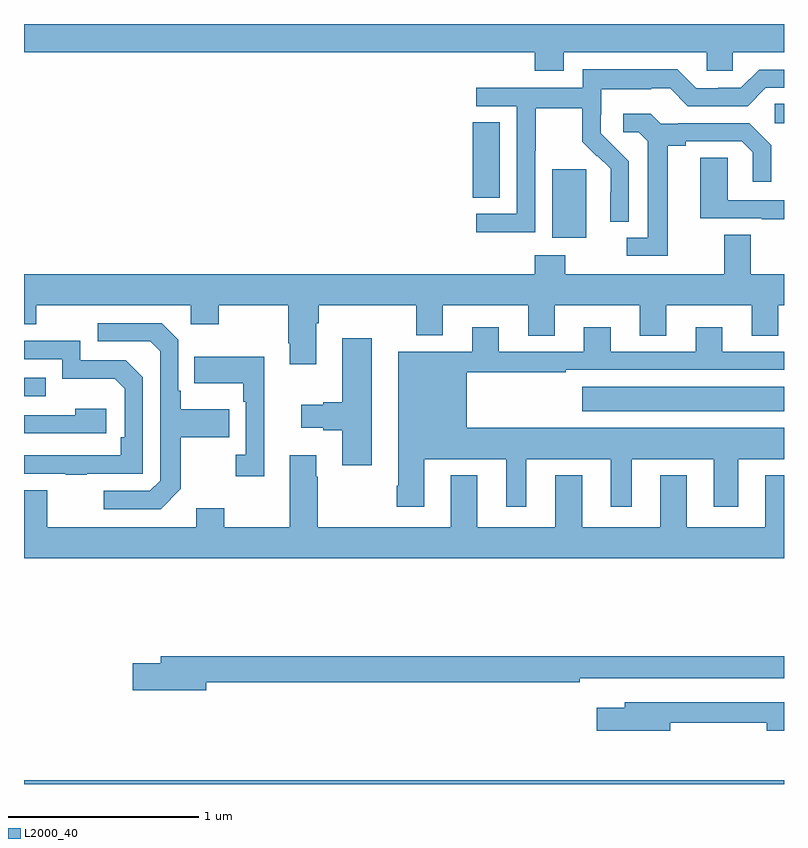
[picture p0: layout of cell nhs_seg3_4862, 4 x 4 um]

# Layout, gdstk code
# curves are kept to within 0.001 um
import gdstk
lib = gdstk.Library(unit=1e-6, precision=1e-09)
def R(c, l, rs):  # rectangles x0, y0, x1, y1
    for r in rs: c.add(gdstk.rectangle(r[:2], r[2:], *l))
def P(c, l, *ps):  # polygons
    for p in ps: c.add(gdstk.Polygon(p, *l))
L2000_40 = (2000, 40)

nhs_seg3_4862 = lib.new_cell('nhs_seg3_4862')
R(nhs_seg3_4862, L2000_40, [(373,694.4,377,694.42), (375.939,696.362,377,696.49), (373,696.441,373.115,696.537), (375.779,697.274,375.958,697.635), (375.362,697.486,375.505,697.883), (376.95,697.878,377,697.979)])
P(nhs_seg3_4862, L2000_40, [(375.841,698.252),(376.593,698.252),(376.593,698.154),(376.731,698.154),(376.731,698.252),(377,698.252),(377,698.4),(373,698.4),(373,698.252),(375.689,698.252),(375.689,698.153),(375.841,698.153)],
  [(375.69,697.732),(375.693,697.732),(375.693,697.956),(375.937,697.956),(375.937,697.781),(376.014,697.704),(376.017,697.707),(376.088,697.637),(376.088,697.514),(376.086,697.514),(376.086,697.36),(376.182,697.36),(376.182,697.678),(376.036,697.826),(376.036,697.923),(376.038,697.923),(376.038,698.057),(376.301,698.057),(376.301,698.061),(376.401,698.061),(376.494,697.968),(376.809,697.968),(376.905,698.064),(377,698.064),(377,698.16),(376.869,698.16),(376.773,698.064),(376.655,698.064),(376.655,698.061),(376.539,698.061),(376.439,698.161),(375.942,698.161),(375.942,698.064),(375.381,698.064),(375.381,697.968),(375.594,697.968),(375.594,697.401),(375.381,697.401),(375.381,697.303),(375.69,697.303)],
  [(376.387,697.76),(376.483,697.76),(376.483,697.782),(376.778,697.782),(376.835,697.725),(376.835,697.569),(376.932,697.569),(376.932,697.762),(376.816,697.878),(376.444,697.878),(376.444,697.875),(376.35,697.875),(376.298,697.927),(376.155,697.927),(376.155,697.83),(376.236,697.83),(376.283,697.783),(376.283,697.275),(376.173,697.275),(376.173,697.179),(376.387,697.179)],
  [(377,697.473),(376.704,697.473),(376.704,697.697),(376.559,697.697),(376.559,697.377),(376.883,697.377),(376.883,697.373),(377,697.373)],
  [(374.539,696.824),(374.552,696.824),(374.552,696.92),(375.065,696.92),(375.065,696.761),(375.205,696.761),(375.205,696.92),(375.653,696.92),(375.653,696.76),(375.793,696.76),(375.793,696.92),(376.241,696.92),(376.241,696.76),(376.381,696.76),(376.381,696.92),(376.829,696.92),(376.829,696.76),(376.969,696.76),(376.969,696.92),(377,696.92),(377,697.084),(376.825,697.084),(376.825,697.292),(376.685,697.292),(376.685,697.084),(375.849,697.084),(375.849,697.183),(375.689,697.183),(375.689,697.084),(373,697.084),(373,696.821),(373.065,696.821),(373.065,696.92),(373.878,696.92),(373.878,696.821),(374.025,696.821),(374.025,696.92),(374.392,696.92),(374.392,696.721),(374.399,696.721),(374.399,696.609),(374.539,696.609)],
  [(373.825,695.953),(373.825,696.226),(374.081,696.226),(374.081,696.373),(373.825,696.373),(373.825,696.469),(373.812,696.469),(373.812,696.738),(373.725,696.825),(373.389,696.825),(373.389,696.729),(373.665,696.729),(373.716,696.678),(373.716,695.997),(373.662,695.943),(373.419,695.943),(373.419,695.847),(373.719,695.847)],
  [(375.106,696.11),(375.539,696.11),(375.539,695.859),(375.643,695.859),(375.643,696.11),(376.088,696.11),(376.088,695.859),(376.198,695.859),(376.198,696.11),(376.631,696.11),(376.631,695.859),(376.759,695.859),(376.759,696.11),(377,696.11),(377,696.274),(375.331,696.274),(375.331,696.567),(375.851,696.567),(375.851,696.579),(377,696.579),(377,696.675),(376.675,696.675),(376.675,696.805),(376.535,696.805),(376.535,696.675),(376.087,696.675),(376.087,696.805),(375.947,696.805),(375.947,696.675),(375.499,696.675),(375.499,696.805),(375.359,696.805),(375.359,696.676),(374.969,696.676),(374.969,695.971),(374.962,695.971),(374.962,695.859),(375.106,695.859)],
  [(374.83,696.745),(374.675,696.745),(374.675,696.41),(374.576,696.41),(374.576,696.397),(374.46,696.397),(374.46,696.275),(374.576,696.275),(374.576,696.263),(374.675,696.263),(374.675,696.078),(374.83,696.078)],
  [(373.331,696.033),(373.626,696.033),(373.626,696.54),(373.536,696.63),(373.296,696.63),(373.296,696.732),(373,696.732),(373,696.636),(373.2,696.636),(373.2,696.533),(373.477,696.533),(373.53,696.48),(373.53,696.226),(373.51,696.226),(373.51,696.129),(373,696.129),(373,696.033),(373.219,696.033),(373.219,696.028),(373.331,696.028)],
  [(374.264,696.649),(373.897,696.649),(373.897,696.509),(374.154,696.509),(374.154,696.413),(374.166,696.413),(374.166,696.134),(374.115,696.134),(374.115,696.021),(374.264,696.021)],
  [(373.432,696.376),(373.271,696.376),(373.271,696.342),(373,696.342),(373,696.246),(373.432,696.246)],
  [(377,696.025),(376.901,696.025),(376.901,695.752),(376.489,695.752),(376.489,696.025),(376.349,696.025),(376.349,695.752),(375.937,695.752),(375.937,696.025),(375.797,696.025),(375.797,695.752),(375.385,695.752),(375.385,696.025),(375.245,696.025),(375.245,695.752),(374.547,695.752),(374.547,696.017),(374.539,696.017),(374.539,696.13),(374.399,696.13),(374.399,695.752),(374.055,695.752),(374.055,695.851),(373.907,695.851),(373.907,695.752),(373.123,695.752),(373.123,695.947),(373,695.947),(373,695.588),(377,695.588)],
  [(373.96,694.936),(375.926,694.936),(375.926,694.956),(377,694.956),(377,695.072),(373.721,695.072),(373.721,695.036),(373.572,695.036),(373.572,694.894),(373.96,694.894)],
  [(376.402,694.722),(376.91,694.722),(376.91,694.679),(377,694.679),(377,694.83),(376.163,694.83),(376.163,694.801),(376.014,694.801),(376.014,694.679),(376.402,694.679)])

lib.write_gds('nhs_seg3_4862.gds')
